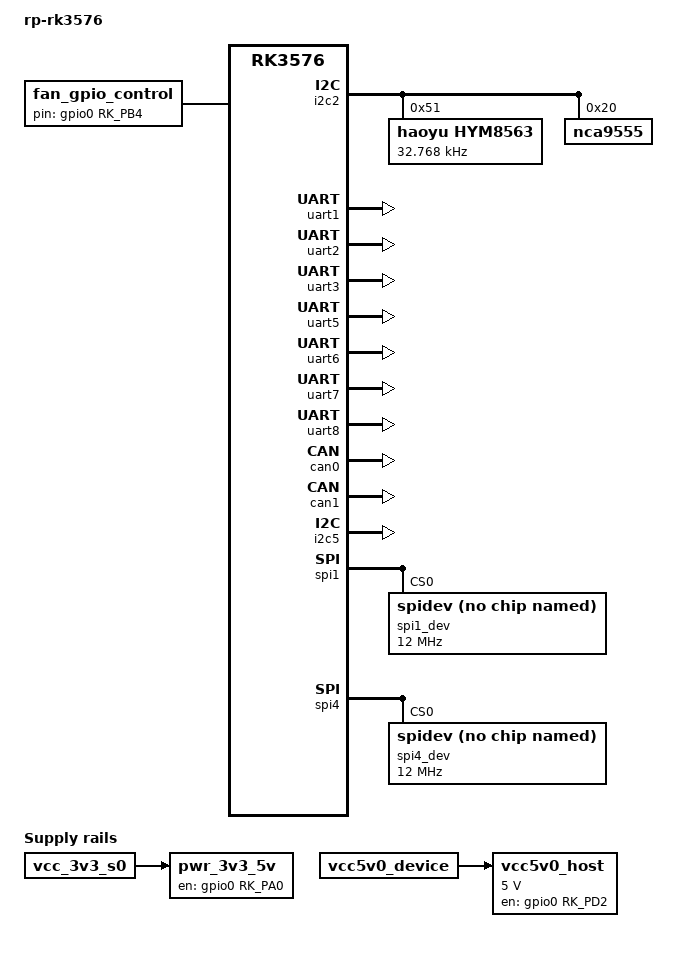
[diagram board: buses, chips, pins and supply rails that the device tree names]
// SPDX-License-Identifier: (GPL-2.0+ OR MIT)
/*
 * Copyright (c) 2024 Rongpin Electronics Co., Ltd.
 *
 */
/dts-v1/;
#define RP_RK3576
#include <dt-bindings/gpio/nca9555-gpio.h>

#include "rp-rk3576-board.dtsi"

#include "rp-audio-es8338.dtsi"
#include "rp-gmac0-1000m.dtsi"
#include "rp-gmac1-1000m.dtsi"

// pcie1 and usb3-host1 cannot be used at the same time.
//#include "rp-pcie1.dtsi"
#include "rp-usb3.0-host1-typeA.dtsi"

#include "rp-usb3.0-otg0-typeA.dtsi"
#include "rp-wifibt-pcie0-ap6275p.dtsi"


#include "rp-lcd-hdmi.dtsi"

//#include "rp-lcd-test-ahd-hdmi.dtsi"
//#include "rp-lcd-mipi0-5-720-1280-lcdm009-lcdm017.dtsi"
//#include "rp-lcd-mipi0-5-720-1280-lcdm009x-lcdm017x.dtsi"
//#include "rp-lcd-mipi0-5-720-1280-lcdm026.dtsi"
//#include "rp-lcd-mipi0-5-720-1280-lcdm008.dtsi"
//#include "rp-lcd-mipi0-5.5-720-1280-lcdm013-lcdm042.dtsi"
//#include "rp-lcd-mipi0-5.5-720-1280-lcdm013x-lcdm042x.dtsi"
//#include "rp-lcd-mipi0-7-720-1280-lcdm027-lcdm047.dtsi"
//#include "rp-lcd-mipi0-7-1024-600-lcdm012-lcdm020-lcdm021.dtsi"
//#include "rp-lcd-mipi0-7-1200-1920-lcdm014.dtsi"
//#include "rp-lcd-mipi0-8-800-1280-lcdm015-lcdm044.dtsi"
//#include "rp-lcd-mipi0-8-800-1280-lcdm028-lcdm048.dtsi"
//#include "rp-lcd-mipi0-8-800-1280-lcdm028T-lcdm048T.dtsi"
//#include "rp-lcd-mipi0-8-1200-1920-lcdm035-lcdm052.dtsi"
//#include "rp-lcd-mipi0-8-1200-1920-lcdm035T-lcdm052T.dtsi"
//#include "rp-lcd-mipi0-10-800-1280-lcdm016-lcdm045.dtsi"
//#include "rp-lcd-mipi0-10-800-1280-lcdm036-lcdm049.dtsi"
//#include "rp-lcd-mipi0-10-800-1280-lcdm036T-lcdm049T.dtsi"
//#include "rp-lcd-mipi0-10-1200-1920-lcdm029-lcdm053.dtsi"
//#include "rp-lcd-mipi0-10-1200-1920-lcdm029T-lcdm053T.dtsi"
//#include "rp-lcd-mipi0-10-1920-1200-lcdm019.dtsi"
//#include "rp-lcd-mipi0-10-1920-1200-lcdm051-lcdm054.dtsi"
//#include "rp-lcd-mipi0-10-1920-1200-lcdm051TR-lcdm054TR.dtsi"
//#include "rp-lcd-mipi0-10-1920-1200-lcdm006.dtsi"
//#include "rp-lcd-mipi0-10-1920-1200-lcdm007.dtsi"
//#include "rp-lcd-mipi2lvds-gm8775-10.1-1024-600-gm2lvds1024600.dtsi"
//#include "rp-lcd-mipi2lvds-gm8775-10.1-1280-800-gm2lvds1280800.dtsi"
//#include "rp-lcd-mipi2lvds-gm8775-24-1920-1080-gm2lvds19201080.dtsi"


//#ifdef RK3576_AHD
//#include "rp-camera-dcphy0-mipi-ahd.dtsi"
//#include "rp-camera-dphy0-mipi-ahd.dtsi"
//#include "rp-camera-dphy3-mipi-ahd.dtsi"
//#else
//#include "rp-camera-mipi-csi0.dtsi"
//#include "rp-camera-mipi-csi1.dtsi"
//#include "rp-camera-mipi-csi3.dtsi"
//#endif


/ {
    model = "rp-rk3576";
    //model = "FriendlyElec NanoPi M5";
	//compatible = "friendlyelec,nanopi-m5", "rockchip,rk3576";
	
    /delete-node/ chosen;
	
    pwr_3v3_5v: pwr-3v3-5v {
        compatible = "regulator-fixed";
        regulator-name = "pwr_3v3_5v";
        regulator-boot-on;
        regulator-always-on;
        enable-active-high;
        gpio = <&gpio0 RK_PA0 GPIO_ACTIVE_HIGH>;
        vin-supply = <&vcc_3v3_s0>;
    };

    vcc5v0_host: vcc5v0-host {
        compatible = "regulator-fixed";
        regulator-name = "vcc5v0_host";
        regulator-boot-on;
        regulator-always-on;
        regulator-min-microvolt = <5000000>;
        regulator-max-microvolt = <5000000>;
        enable-active-high;
        gpio = <&gpio0 RK_PD2 GPIO_ACTIVE_HIGH>;
        vin-supply = <&vcc5v0_device>;
    };
    
    fan_gpio_control {
        compatible = "fan_gpio_control";
        gpio-pin = <&gpio0 RK_PB4 GPIO_ACTIVE_HIGH>;
        temperature-device = "soc-thermal";
        temp-on = <60000>;
        time = <10000>;
        status = "okay";
    };

    rp_power{
        status = "okay";
        compatible = "rp_power";
        rp_not_deep_sleep = <1>;

//#define GPIO_FUNCTION_OUTPUT 0
//#define GPIO_FUNCTION_INPUT 1
//#define GPIO_FUNCTION_IRQ 2
//#define GPIO_FUNCTION_FLASH 3
//#define GPIO_FUNCTION_OUTPUT_CTRL 4
        led {  
            gpio_num = <&gpio4 RK_PC7 GPIO_ACTIVE_HIGH>;
            gpio_function = <3>;
        };

        usb-otg-power {  
            gpio_num = <&gpio0 RK_PD3 GPIO_ACTIVE_HIGH>;
            gpio_function = <4>;
        };

        usb-host-power {  
            gpio_num = <&gpio0 RK_PD2 GPIO_ACTIVE_HIGH>;
            gpio_function = <4>;
        };

        usb-hub-reset {  
            gpio_num = <&gpio0 RK_PD1 GPIO_ACTIVE_LOW>;
            gpio_function = <4>;
        };
        
				vdd_4g {     
            gpio_num = <&nca9555_gpio IO_06 GPIO_ACTIVE_HIGH>;
            gpio_function = <4>;
		    };
				4g_reset {     
            gpio_num = <&nca9555_gpio IO_07 GPIO_ACTIVE_HIGH>;
            gpio_function = <4>;
		    };
             nvme_power {
            gpio_num = <&nca9555_gpio IO_10 GPIO_ACTIVE_HIGH>;
            gpio_function = <4>;
                    };
    };

    rp_gpio{
        status = "okay";
        compatible = "rp_gpio";
//	pinctrl-names= "default";
//	pinctrl-0 = <&rp_gpio_pins>;
				IO11 {     
            gpio_num = <&nca9555_gpio IO_11 GPIO_ACTIVE_LOW>;
            gpio_function = <4>;
		    };
		    
				IO12 {     
            gpio_num = <&nca9555_gpio IO_12 GPIO_ACTIVE_LOW>;
            gpio_function = <4>;
		    };
		    
				IO13 {     
            gpio_num = <&nca9555_gpio IO_13 GPIO_ACTIVE_LOW>;
            gpio_function = <4>;
		    };
		    
				IO14 {     
            gpio_num = <&nca9555_gpio IO_14 GPIO_ACTIVE_LOW>;
            gpio_function = <4>;
		    };
		    
				IO15 {     
            gpio_num = <&nca9555_gpio IO_15 GPIO_ACTIVE_LOW>;
            gpio_function = <4>;
		    };
		    
				IO16 {     
            gpio_num = <&nca9555_gpio IO_16 GPIO_ACTIVE_LOW>;
            gpio_function = <4>;
		    };
		    
				IO17 {     
            gpio_num = <&nca9555_gpio IO_17 GPIO_ACTIVE_LOW>;
            gpio_function = <4>;
		    };
    };
};

&i2c2 {
    status = "okay";
    pinctrl-names = "default";
    pinctrl-0 = <&i2c2m0_xfer>;

    hym8563: hym8563@51 {
        compatible = "haoyu,hym8563";
        reg = <0x51>;
        #clock-cells = <0>;
        clock-frequency = <32768>;
        clock-output-names = "hym8563-32k";
    };
    
    nca9555: mfd-gpio@20 {
        compatible = "nca9555";
        reg = <0x20>;
        status = "okay";

        nca9555_gpio: gpio-normal@20 {
            compatible = "nca9555-gpio";
            gpio-controller;
            #gpio-cells = <2>;
        };
    };
};

//RS-232
&uart1 {
    status = "okay";
    dmas = <&dmac0 8>, <&dmac0 9>;
    pinctrl-names = "default";
    pinctrl-0 = <&uart1m1_xfer>;
};

//RS-232
&uart2 {
    status = "okay";
    dmas = <&dmac0 10>, <&dmac0 11>;
    pinctrl-names = "default";
    pinctrl-0 = <&uart2m2_xfer>;
};

//TTL
&uart3 {
    status = "okay";
    dmas = <&dmac0 12>, <&dmac0 13>;
    pinctrl-names = "default";
    pinctrl-0 = <&uart3m0_xfer>;
};

/* uart4 enable in wifibt dtsi */

//TTL
&uart5 {
    status = "okay";
    dmas = <&dmac1 11>, <&dmac1 12>;
    pinctrl-names = "default";
    pinctrl-0 = <&uart5m0_xfer>;
};

//TTL
&uart6 {
    status = "okay";
    dmas = <&dmac1 13>, <&dmac1 14>;
    pinctrl-names = "default";
    pinctrl-0 = <&uart6m3_xfer>;
};

//TTL
&uart7 {
    status = "okay";
    dmas = <&dmac2 6>, <&dmac2 7>;
    pinctrl-names = "default";
    pinctrl-0 = <&uart7m0_xfer>;
};

// RS485
&uart8 {
    status = "okay";
    dmas = <&dmac2 8>, <&dmac2 9>;
    pinctrl-names = "default";
    pinctrl-0 = <&uart8m1_xfer>;
};

&can0 {
    status = "okay";
    pinctrl-names = "default";
    pinctrl-0 = <&can0m2_pins>;
};

&can1 {
    status = "okay";
    pinctrl-names = "default";
    pinctrl-0 = <&can1m3_pins>;
};

&i2c5 {
    status = "okay";
    pinctrl-names = "default";
    pinctrl-0 = <&i2c5m3_xfer>;
};

&spi1 {
    status = "okay";
    pinctrl-names = "default";
    pinctrl-0 = <&spi1m2_csn0 &spi1m2_pins>;
    spi1_dev@0 {
        compatible = "rockchip,spidev";
        reg = <0>;
        spi-max-frequency = <12000000>;
        spi-lsb-first;
    };
};

&spi4 {
    status = "okay";
    pinctrl-names = "default";
    pinctrl-0 = <&spi4m3_csn0 &spi4m3_pins>;
    spi4_dev@0 {
        compatible = "rockchip,spidev";
        reg = <0>;
        spi-max-frequency = <12000000>;
        spi-lsb-first;
    };
};

&hdmi{
    /* rp-rk3576 hardware not connect this */
    /delete-property/enable-gpios;
};

&hdmi_sound { 
    status = "disabled"; 
};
